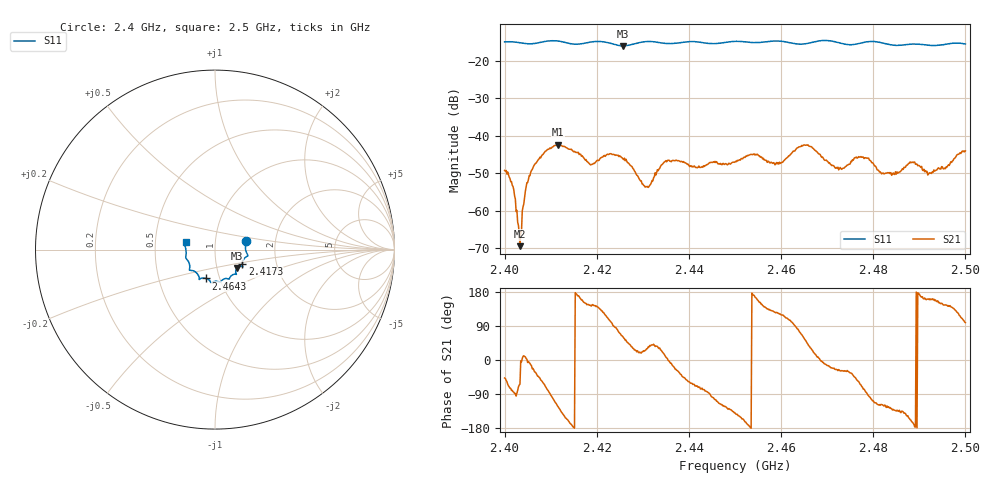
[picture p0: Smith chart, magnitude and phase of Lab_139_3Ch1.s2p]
# Hz S RI R 50
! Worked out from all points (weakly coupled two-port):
!   601 points, 2.4 GHz to 2.5 GHz, reference 50 ohm
!   highest |S21| = -42.38 dB at 2.4115 GHz (marker M1); lowest = -69.5 dB at 2.4033 GHz (marker M2)
!   lowest |S11| = -15.9 dB at 2.4257 GHz (marker M3), VSWR 1.38, Z = 62.4 - j13.1 ohm
!   |S11| at or under -10 dB: start of sweep to end of sweep
!   S12 and S22 are empty: the file has one direction only
!   S11 on the Smith chart (normalised r, x): 2.4 GHz: 1.41, +0.14; 2.4173 GHz: 1.34, -0.23; 2.4643 GHz: 0.86, -0.28; 2.5 GHz: 0.72, +0.06
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2.4e9  0.1734 0.0495  0.00234 -0.00255  0 0  0 0
2.401667e9  0.1753 0.043  0.000368 -0.00215  0 0  0 0
2.403333e9  0.1729 0.0318  0.000148 -0.000301  0 0  0 0
2.404833e9  0.1699 0.0154  0.00236 8.35e-05  0 0  0 0
2.405833e9  0.1701 0.00315  0.00333 -0.000896  0 0  0 0
2.4115e9  0.182 -0.0353  -0.00399 -0.00648  0 0  0 0
2.416667e9  0.1528 -0.0745  -0.00499 0.00197  0 0  0 0
2.417333e9  0.1523 -0.0819  -0.00432 0.00236  0 0  0 0
2.425667e9  0.1225 -0.1025  0.00234 0.00434  0 0  0 0
2.430667e9  0.1192 -0.1376  0.00188 0.00095  0 0  0 0
2.433333e9  0.113 -0.1367  0.00289 0.00183  0 0  0 0
2.435333e9  0.0992 -0.1398  0.0047 0.000301  0 0  0 0
2.45e9  0.0296 -0.1811  -0.0034 -0.00292  0 0  0 0
2.459667e9  -0.0229 -0.1833  -0.0023 0.0038  0 0  0 0
2.464333e9  -0.0501 -0.1606  0.00262 0.00674  0 0  0 0
2.466667e9  -0.0763 -0.1599  0.00631 0.00325  0 0  0 0
2.472167e9  -0.0882 -0.1547  0.00334 -0.00162  0 0  0 0
2.477333e9  -0.1297 -0.1162  0.00217 -0.00482  0 0  0 0
2.483333e9  -0.1409 -0.0896  -0.00176 -0.00267  0 0  0 0
2.4885e9  -0.1617 -0.0486  -0.00429 -0.0012  0 0  0 0
2.492333e9  -0.1609 -0.0216  -0.003 0.00101  0 0  0 0
2.5e9  -0.1637 0.042  -0.00095 0.00623  0 0  0 0
